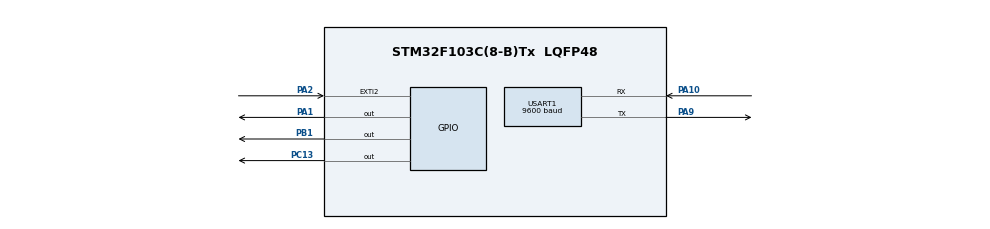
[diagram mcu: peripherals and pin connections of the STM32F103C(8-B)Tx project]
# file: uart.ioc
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Mcu.Family=STM32F1
Mcu.Name=STM32F103C(8-B)Tx
Mcu.Package=LQFP48
NVIC.EXTI2_IRQn=true\:2\:0\:true\:false\:true\:true\:true\:true
NVIC.PriorityGroup=NVIC_PRIORITYGROUP_4
NVIC.USART1_IRQn=true\:3\:0\:true\:false\:true\:true\:true\:true
PA1.PinState=GPIO_PIN_SET
PA1.Signal=GPIO_Output
PA10.Mode=Asynchronous
PA10.Signal=USART1_RX
PA13.Mode=Serial_Wire
PA13.Signal=SYS_JTMS-SWDIO
PA14.Mode=Serial_Wire
PA14.Signal=SYS_JTCK-SWCLK
PA2.GPIO_ModeDefaultEXTI=GPIO_MODE_IT_FALLING
PA2.GPIO_PuPd=GPIO_PULLUP
PA2.Signal=GPXTI2
PA9.Mode=Asynchronous
PA9.Signal=USART1_TX
PB1.Signal=GPIO_Output
PC13-TAMPER-RTC.Signal=GPIO_Output
ProjectManager.HeapSize=0x200
ProjectManager.StackSize=0x400
ProjectManager.TargetToolchain=MDK-ARM V5.32
RCC.APB1Freq_Value=8000000
RCC.APB2Freq_Value=8000000
TIM1.Prescaler=7
USART1.BaudRate=9600
USART1.Mode=MODE_TX_RX
USART1.VirtualMode=VM_ASYNC
VP_TIM1_VS_ClockSourceINT.Mode=Internal
board=custom

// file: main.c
/* USER CODE BEGIN Header */
/**
  ******************************************************************************
  * @file           : main.c
  * @brief          : Main program body
  ******************************************************************************
  * @attention
  *
  * Copyright (c) 2026 STMicroelectronics.
  * All rights reserved.
  *
  * This software is licensed under terms that can be found in the LICENSE file
  * in the root directory of this software component.
  * If no LICENSE file comes with this software, it is provided AS-IS.
  *
  ******************************************************************************
  */
/* USER CODE END Header */
#include "main.h"

/* USER CODE BEGIN Includes */
#include <stdio.h>
#include <string.h>
/* USER CODE END Includes */

TIM_HandleTypeDef htim1;

UART_HandleTypeDef huart1;

void SystemClock_Config(void);
static void MX_GPIO_Init(void);
static void MX_TIM1_Init(void);
static void MX_USART1_UART_Init(void);

/* USER CODE BEGIN 0 */
char start_sign = '@';
char end_sign = '&';
char rfid_on[] = "rfi_on";
char rfid_of[] = "rfi_of";
char test[] = "testap";

unsigned char data_RFID[14],Byte_Rx,data_Rx[10];
char buffer[10];
volatile unsigned char flagrfid=0;
unsigned int RFIDValue=0;
volatile unsigned char rx_index = 0;
volatile unsigned char string_ready = 0;

void uart_receive_Byte();
void uart_tranbyte(unsigned char data);
void delay_us(unsigned int us){
	htim1.Instance->CNT=0;
	while(htim1.Instance->CNT<us);
}

void HAL_UART_RxCpltCallback(UART_HandleTypeDef *huart){
	if(huart->Instance == USART1){
		if(data_RFID[0]==0x02 && data_RFID[13]==0x03){
				flagrfid=1;
		}

		HAL_UART_Receive_IT(&huart1, data_RFID, 14);
}
}
void HAL_GPIO_EXTI_Callback(uint16_t GPIO_Pin){
	if(GPIO_Pin==GPIO_PIN_2){

		HAL_NVIC_DisableIRQ(EXTI2_IRQn);
		uart_receive_Byte();
		if (Byte_Rx == start_sign) {
            rx_index = 0;
        }
		if (rx_index < 9) {
            data_Rx[rx_index] = Byte_Rx;
            rx_index++;
        }

        if (Byte_Rx == end_sign) {
            data_Rx[rx_index] = '\0';
            string_ready = 1;

        }
    }

}
unsigned char AscitoHex(uint8_t data){
    if(data>='0' && data<='9' ) return data-'0';
    else if(data>='A' && data<='F') return data-'A'+10;
    else if(data>='a' && data<='f') return data-'a'+10;
    else return 0;
}

void RFIDConvertValue(uint8_t data[]){
    RFIDValue=0;
    for(uint8_t i=3;i<11;i++){
       RFIDValue=(RFIDValue<<4)|AscitoHex(data[i]);
    }
}

void uart_tranbyte(unsigned char data){
	GPIOA->ODR &= ~(1 << 1);
	delay_us(104);
	for(unsigned char i=0;i<8;i++){
		if((data>>i & 1)){
			GPIOA->ODR |= (1 << 1);
		}	else{
			GPIOA->ODR &= ~(1 << 1);
			}
		delay_us(104);
	}
	GPIOA->ODR |= (1 << 1);
}

void uart_transmit(unsigned char* str){
		 while(*str){
		 __disable_irq();
     uart_tranbyte(*str);
     __enable_irq();
			HAL_Delay(2);
		 str++;
		 }
}

void uart_receive_Byte(){

		__disable_irq();

		Byte_Rx = 0;

    register uint16_t start_time = htim1.Instance->CNT;
    register uint16_t expected_time = 156;

    for(unsigned char i = 0; i < 8; i++){
        while((uint16_t)(htim1.Instance->CNT - start_time) < expected_time);

        if(GPIOA->IDR & (1<<2)){
            Byte_Rx |= (1<<i);
        }

        expected_time += 104;
    }
    __HAL_GPIO_EXTI_CLEAR_IT(GPIO_PIN_2);
    HAL_NVIC_ClearPendingIRQ(EXTI2_IRQn);
    __enable_irq();
    HAL_NVIC_EnableIRQ(EXTI2_IRQn);

}

/* USER CODE END 0 */

int main(void)
{

  /* MCU Configuration--------------------------------------------------------*/

  /* Reset of all peripherals, Initializes the Flash interface and the Systick. */
  HAL_Init();

  /* Configure the system clock */
  SystemClock_Config();

  /* Initialize all configured peripherals */
  MX_GPIO_Init();
  MX_TIM1_Init();
  MX_USART1_UART_Init();
  /* USER CODE BEGIN 2 */
	HAL_TIM_Base_Start(&htim1);
	//HAL_UART_Receive_IT(&huart1,data_Rx,8);
	HAL_GPIO_WritePin(GPIOA,GPIO_PIN_1,1);
  /* USER CODE END 2 */

  /* Infinite loop */
  while (1)
  {

    /* USER CODE BEGIN 3 */

		if(flagrfid==1){
			RFIDConvertValue(data_RFID);
			snprintf(buffer, sizeof(buffer), "%d\n",RFIDValue);
			uart_transmit((unsigned char*)buffer);
			HAL_GPIO_WritePin(GPIOC,GPIO_PIN_13,1);
			HAL_Delay(500);
			HAL_GPIO_WritePin(GPIOC,GPIO_PIN_13,0);
			memset(buffer, 0, sizeof(buffer));
			flagrfid=0;
		}
		if(string_ready==1){
			if(data_Rx[0]==start_sign && data_Rx[7]==end_sign){
								if (strncmp((char*)&data_Rx[1], rfid_on, 6) == 0) {
										__HAL_UART_ENABLE(&huart1);
										uart_transmit((unsigned char *)"@Rrf_on&");
										HAL_UART_Receive_IT(&huart1,data_RFID,14);
							}else if (strncmp((char*)&data_Rx[1], rfid_of, 6) == 0) {
										uart_transmit((unsigned char *)"@Rrf_of&");
										HAL_UART_Abort_IT(&huart1);
										__HAL_UART_DISABLE(&huart1);
							}else if (strncmp((char*)&data_Rx[1], test, 6) == 0){
										uart_tranbyte('A');

							}
				}
			memset(data_Rx, 0, sizeof(data_Rx));
			string_ready=0;
		}

  }
  /* USER CODE END 3 */
}

void SystemClock_Config(void)
{
  RCC_OscInitTypeDef RCC_OscInitStruct = {0};
  RCC_ClkInitTypeDef RCC_ClkInitStruct = {0};

  /** Initializes the RCC Oscillators according to the specified parameters
  * in the RCC_OscInitTypeDef structure.
  */
  RCC_OscInitStruct.OscillatorType = RCC_OSCILLATORTYPE_HSI;
  RCC_OscInitStruct.HSIState = RCC_HSI_ON;
  RCC_OscInitStruct.HSICalibrationValue = RCC_HSICALIBRATION_DEFAULT;
  RCC_OscInitStruct.PLL.PLLState = RCC_PLL_NONE;
  if (HAL_RCC_OscConfig(&RCC_OscInitStruct) != HAL_OK)
  {
    Error_Handler();
  }

  /** Initializes the CPU, AHB and APB buses clocks
  */
  RCC_ClkInitStruct.ClockType = RCC_CLOCKTYPE_HCLK|RCC_CLOCKTYPE_SYSCLK
                              |RCC_CLOCKTYPE_PCLK1|RCC_CLOCKTYPE_PCLK2;
  RCC_ClkInitStruct.SYSCLKSource = RCC_SYSCLKSOURCE_HSI;
  RCC_ClkInitStruct.AHBCLKDivider = RCC_SYSCLK_DIV1;
  RCC_ClkInitStruct.APB1CLKDivider = RCC_HCLK_DIV1;
  RCC_ClkInitStruct.APB2CLKDivider = RCC_HCLK_DIV1;

  if (HAL_RCC_ClockConfig(&RCC_ClkInitStruct, FLASH_LATENCY_0) != HAL_OK)
  {
    Error_Handler();
  }
}

static void MX_TIM1_Init(void)
{

  TIM_ClockConfigTypeDef sClockSourceConfig = {0};
  TIM_MasterConfigTypeDef sMasterConfig = {0};

  htim1.Instance = TIM1;
  htim1.Init.Prescaler = 7;
  htim1.Init.CounterMode = TIM_COUNTERMODE_UP;
  htim1.Init.Period = 65535;
  htim1.Init.ClockDivision = TIM_CLOCKDIVISION_DIV1;
  htim1.Init.RepetitionCounter = 0;
  htim1.Init.AutoReloadPreload = TIM_AUTORELOAD_PRELOAD_DISABLE;
  if (HAL_TIM_Base_Init(&htim1) != HAL_OK)
  {
    Error_Handler();
  }
  sClockSourceConfig.ClockSource = TIM_CLOCKSOURCE_INTERNAL;
  if (HAL_TIM_ConfigClockSource(&htim1, &sClockSourceConfig) != HAL_OK)
  {
    Error_Handler();
  }
  sMasterConfig.MasterOutputTrigger = TIM_TRGO_RESET;
  sMasterConfig.MasterSlaveMode = TIM_MASTERSLAVEMODE_DISABLE;
  if (HAL_TIMEx_MasterConfigSynchronization(&htim1, &sMasterConfig) != HAL_OK)
  {
    Error_Handler();
  }

}

static void MX_USART1_UART_Init(void)
{

  huart1.Instance = USART1;
  huart1.Init.BaudRate = 9600;
  huart1.Init.WordLength = UART_WORDLENGTH_8B;
  huart1.Init.StopBits = UART_STOPBITS_1;
  huart1.Init.Parity = UART_PARITY_NONE;
  huart1.Init.Mode = UART_MODE_TX_RX;
  huart1.Init.HwFlowCtl = UART_HWCONTROL_NONE;
  huart1.Init.OverSampling = UART_OVERSAMPLING_16;
  if (HAL_UART_Init(&huart1) != HAL_OK)
  {
    Error_Handler();
  }

}

static void MX_GPIO_Init(void)
{
  GPIO_InitTypeDef GPIO_InitStruct = {0};

  /* GPIO Ports Clock Enable */
  __HAL_RCC_GPIOC_CLK_ENABLE();
  __HAL_RCC_GPIOA_CLK_ENABLE();
  __HAL_RCC_GPIOB_CLK_ENABLE();

  /*Configure GPIO pin Output Level */
  HAL_GPIO_WritePin(GPIOC, GPIO_PIN_13, GPIO_PIN_RESET);

  /*Configure GPIO pin Output Level */
  HAL_GPIO_WritePin(GPIOA, GPIO_PIN_1, GPIO_PIN_SET);

  /*Configure GPIO pin Output Level */
  HAL_GPIO_WritePin(GPIOB, GPIO_PIN_1, GPIO_PIN_RESET);

  /*Configure GPIO pin : PC13 */
  GPIO_InitStruct.Pin = GPIO_PIN_13;
  GPIO_InitStruct.Mode = GPIO_MODE_OUTPUT_PP;
  GPIO_InitStruct.Pull = GPIO_NOPULL;
  GPIO_InitStruct.Speed = GPIO_SPEED_FREQ_LOW;
  HAL_GPIO_Init(GPIOC, &GPIO_InitStruct);

  /*Configure GPIO pin : PA1 */
  GPIO_InitStruct.Pin = GPIO_PIN_1;
  GPIO_InitStruct.Mode = GPIO_MODE_OUTPUT_PP;
  GPIO_InitStruct.Pull = GPIO_NOPULL;
  GPIO_InitStruct.Speed = GPIO_SPEED_FREQ_LOW;
  HAL_GPIO_Init(GPIOA, &GPIO_InitStruct);

  /*Configure GPIO pin : PA2 */
  GPIO_InitStruct.Pin = GPIO_PIN_2;
  GPIO_InitStruct.Mode = GPIO_MODE_IT_FALLING;
  GPIO_InitStruct.Pull = GPIO_PULLUP;
  HAL_GPIO_Init(GPIOA, &GPIO_InitStruct);

  /*Configure GPIO pin : PB1 */
  GPIO_InitStruct.Pin = GPIO_PIN_1;
  GPIO_InitStruct.Mode = GPIO_MODE_OUTPUT_PP;
  GPIO_InitStruct.Pull = GPIO_NOPULL;
  GPIO_InitStruct.Speed = GPIO_SPEED_FREQ_LOW;
  HAL_GPIO_Init(GPIOB, &GPIO_InitStruct);

  /* EXTI interrupt init*/
  HAL_NVIC_SetPriority(EXTI2_IRQn, 2, 0);
  HAL_NVIC_EnableIRQ(EXTI2_IRQn);

}

void Error_Handler(void)
{
  __disable_irq();
  while (1)
  {
  }
}
